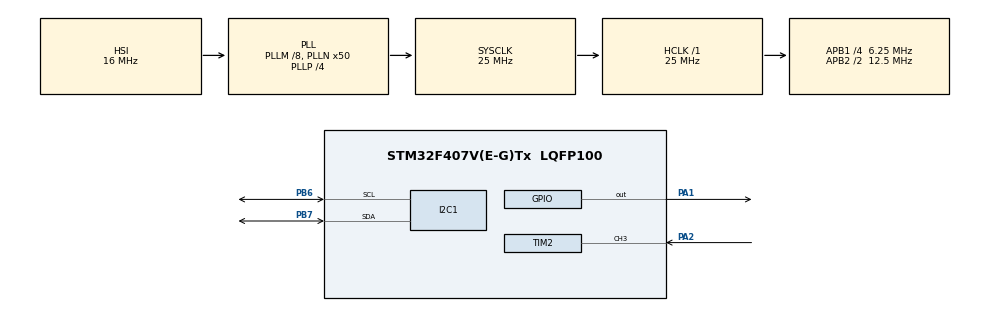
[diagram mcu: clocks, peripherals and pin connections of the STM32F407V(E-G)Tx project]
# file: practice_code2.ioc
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Mcu.Family=STM32F4
Mcu.Name=STM32F407V(E-G)Tx
Mcu.Package=LQFP100
NVIC.PriorityGroup=NVIC_PRIORITYGROUP_0
NVIC.TIM2_IRQn=true\:0\:0\:false\:false\:true\:true\:true\:true
PA1.Signal=GPIO_Output
PA2.Signal=S_TIM2_CH3
PB6.Mode=I2C
PB6.Signal=I2C1_SCL
PB7.Mode=I2C
PB7.Signal=I2C1_SDA
ProjectManager.HeapSize=0x200
ProjectManager.StackSize=0x400
ProjectManager.TargetToolchain=STM32CubeIDE
RCC.48MHZClocksFreq_Value=14285714.285714285
RCC.AHBFreq_Value=25000000
RCC.APB1CLKDivider=RCC_HCLK_DIV4
RCC.APB1Freq_Value=6250000
RCC.APB1TimFreq_Value=12500000
RCC.APB2CLKDivider=RCC_HCLK_DIV2
RCC.APB2Freq_Value=12500000
RCC.APB2TimFreq_Value=25000000
RCC.CortexFreq_Value=25000000
RCC.HCLKFreq_Value=25000000
RCC.HSE_VALUE=8000000
RCC.HSI_VALUE=16000000
RCC.LSE_VALUE=32768
RCC.PLLM=8
RCC.PLLN=50
RCC.PLLP=RCC_PLLP_DIV4
RCC.PLLQ=7
RCC.SYSCLKFreq_VALUE=25000000
RCC.SYSCLKSource=RCC_SYSCLKSOURCE_PLLCLK
RCC.VCOOutputFreq_Value=100000000
SH.S_TIM2_CH3.0=TIM2_CH3,Input_Capture3_from_TI3
TIM2.Channel-Input_Capture3_from_TI3=TIM_CHANNEL_3
TIM2.Period=65535
TIM2.Prescaler=83
board=STM32F407G-DISC1

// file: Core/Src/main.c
/* USER CODE BEGIN Header */
/**
  ******************************************************************************
  * @file           : main.c
  * @brief          : Main program body
  ******************************************************************************
  * @attention
  *
  * Copyright (c) 2025 STMicroelectronics.
  * All rights reserved.
  *
  * This software is licensed under terms that can be found in the LICENSE file
  * in the root directory of this software component.
  * If no LICENSE file comes with this software, it is provided AS-IS.
  *
  ******************************************************************************
  */
/* USER CODE END Header */
#include "main.h"

/* USER CODE BEGIN Includes */
#include<stdio.h>
#include <string.h>
#include <time.h>
#include <math.h>
#include "lcd.h"
#include <stm32f4xx.h>
/* USER CODE END Includes */

I2C_HandleTypeDef hi2c1;

TIM_HandleTypeDef htim2;

void SystemClock_Config(void);
static void MX_GPIO_Init(void);
static void MX_TIM2_Init(void);
static void MX_I2C1_Init(void);
/* USER CODE BEGIN PFP */
//uint32_t echo_time = 0;
//float distance = 0;
////char str[30];
//
//void trigger_ultrasonic()
//{
//	HAL_GPIO_WritePin(GPIOA, GPIO_PIN_1, GPIO_PIN_RESET);
//	for(volatile int i = 0; i < 250; i++);
//	HAL_GPIO_WritePin(GPIOA, GPIO_PIN_1, GPIO_PIN_SET); // TRIG high
//	 for (volatile int i = 0; i < 30; i++);
//    HAL_GPIO_WritePin(GPIOA, GPIO_PIN_1, GPIO_PIN_RESET); // TRIG low
//}

uint32_t echo_time = 0;
float distance = 0;

void trigger_ultrasonic(void) {
  HAL_GPIO_WritePin(GPIOA, GPIO_PIN_1, GPIO_PIN_RESET);
  for (volatile int i = 0; i < 250; i++);
  HAL_GPIO_WritePin(GPIOA, GPIO_PIN_1, GPIO_PIN_SET);
  for (volatile int i = 0; i < 30; i++);
  HAL_GPIO_WritePin(GPIOA, GPIO_PIN_1, GPIO_PIN_RESET);
}

//void HAL_TIM_IC_CaptureCallback(TIM_HandleTypeDef *htim)
//{
//    static uint32_t firstVal = 0, secondVal = 0;
//    static uint8_t isFirstCaptured = 0;
//
//    if (htim->Channel == HAL_TIM_ACTIVE_CHANNEL_3) // ECHO pin on TIM2_CH3
//    {
//        if (isFirstCaptured == 0)
//        {
//            firstVal = HAL_TIM_ReadCapturedValue(htim, TIM_CHANNEL_3);
//            isFirstCaptured = 1;
//            __HAL_TIM_SET_CAPTUREPOLARITY(htim, TIM_CHANNEL_3, TIM_INPUTCHANNELPOLARITY_FALLING);
//        }
//        else
//        {
//            secondVal = HAL_TIM_ReadCapturedValue(htim, TIM_CHANNEL_3);
//            __HAL_TIM_SET_COUNTER(htim, 0);
//            echo_time = secondVal - firstVal;
//            distance = echo_time / 58.0f;
//            //distance (cm) = time (μs) / 58;
//            isFirstCaptured = 0;
//            __HAL_TIM_SET_CAPTUREPOLARITY(htim, TIM_CHANNEL_3, TIM_INPUTCHANNELPOLARITY_RISING);
//        }
//    }
//}

void HAL_TIM_IC_CaptureCallback(TIM_HandleTypeDef *htim) {
  static uint32_t first = 0;
  static uint8_t capFlag = 0;
  if (htim->Channel == HAL_TIM_ACTIVE_CHANNEL_3) {
    if (!capFlag) {
      first = HAL_TIM_ReadCapturedValue(htim, TIM_CHANNEL_3);
      capFlag = 1;
      __HAL_TIM_SET_CAPTUREPOLARITY(htim, TIM_CHANNEL_3, TIM_INPUTCHANNELPOLARITY_FALLING);
    } else {
      uint32_t second = HAL_TIM_ReadCapturedValue(htim, TIM_CHANNEL_3);
      __HAL_TIM_SET_COUNTER(htim, 0);
      echo_time = second - first;
      distance = echo_time / 10.0f;
      capFlag = 0;
      __HAL_TIM_SET_CAPTUREPOLARITY(htim, TIM_CHANNEL_3, TIM_INPUTCHANNELPOLARITY_RISING);
    }
  }
}
/* USER CODE END PFP */

int main(void)
{

  /* MCU Configuration--------------------------------------------------------*/

  /* Reset of all peripherals, Initializes the Flash interface and the Systick. */
  HAL_Init();

  /* Configure the system clock */
  SystemClock_Config();

  /* Initialize all configured peripherals */
  MX_GPIO_Init();
  MX_TIM2_Init();
  MX_I2C1_Init();
  /* USER CODE BEGIN 2 */
LcdInit();
HAL_TIM_IC_Start_IT(&htim2, TIM_CHANNEL_3);
  /* USER CODE END 2 */

  /* Infinite loop */
  /* USER CODE BEGIN WHILE */
char buf[20];
LcdWriteByte(LCD_CMD, LCD_CLEAR);
while (1)
{
	trigger_ultrasonic();
	    HAL_Delay(200); // Wait 200ms

	    if (echo_time == 0 || echo_time > 100) {

	      LcdPuts(LCD_LINE1, "Safe zone !!!");
	      LcdPuts(LCD_LINE2, "                ");
	      HAL_Delay(100);

	    } else {

	      LcdPuts(LCD_LINE2, "STOP STOP !!! ");
	      sprintf(buf, "Dist: %5.2f cm", distance);

	      LcdPuts(LCD_LINE1, buf);
	      HAL_Delay(100);
	    //  LcdWriteByte(LCD_CMD, LCD_CLEAR);

	    }
}

  /* USER CODE END 3 */
}

void SystemClock_Config(void)
{
  RCC_OscInitTypeDef RCC_OscInitStruct = {0};
  RCC_ClkInitTypeDef RCC_ClkInitStruct = {0};

  /** Configure the main internal regulator output voltage
  */
  __HAL_RCC_PWR_CLK_ENABLE();
  __HAL_PWR_VOLTAGESCALING_CONFIG(PWR_REGULATOR_VOLTAGE_SCALE1);

  /** Initializes the RCC Oscillators according to the specified parameters
  * in the RCC_OscInitTypeDef structure.
  */
  RCC_OscInitStruct.OscillatorType = RCC_OSCILLATORTYPE_HSI;
  RCC_OscInitStruct.HSIState = RCC_HSI_ON;
  RCC_OscInitStruct.HSICalibrationValue = RCC_HSICALIBRATION_DEFAULT;
  RCC_OscInitStruct.PLL.PLLState = RCC_PLL_ON;
  RCC_OscInitStruct.PLL.PLLSource = RCC_PLLSOURCE_HSI;
  RCC_OscInitStruct.PLL.PLLM = 8;
  RCC_OscInitStruct.PLL.PLLN = 50;
  RCC_OscInitStruct.PLL.PLLP = RCC_PLLP_DIV4;
  RCC_OscInitStruct.PLL.PLLQ = 7;
  if (HAL_RCC_OscConfig(&RCC_OscInitStruct) != HAL_OK)
  {
    Error_Handler();
  }

  /** Initializes the CPU, AHB and APB buses clocks
  */
  RCC_ClkInitStruct.ClockType = RCC_CLOCKTYPE_HCLK|RCC_CLOCKTYPE_SYSCLK
                              |RCC_CLOCKTYPE_PCLK1|RCC_CLOCKTYPE_PCLK2;
  RCC_ClkInitStruct.SYSCLKSource = RCC_SYSCLKSOURCE_PLLCLK;
  RCC_ClkInitStruct.AHBCLKDivider = RCC_SYSCLK_DIV1;
  RCC_ClkInitStruct.APB1CLKDivider = RCC_HCLK_DIV4;
  RCC_ClkInitStruct.APB2CLKDivider = RCC_HCLK_DIV2;

  if (HAL_RCC_ClockConfig(&RCC_ClkInitStruct, FLASH_LATENCY_0) != HAL_OK)
  {
    Error_Handler();
  }
}

static void MX_I2C1_Init(void)
{

  hi2c1.Instance = I2C1;
  hi2c1.Init.ClockSpeed = 100000;
  hi2c1.Init.DutyCycle = I2C_DUTYCYCLE_2;
  hi2c1.Init.OwnAddress1 = 0;
  hi2c1.Init.AddressingMode = I2C_ADDRESSINGMODE_7BIT;
  hi2c1.Init.DualAddressMode = I2C_DUALADDRESS_DISABLE;
  hi2c1.Init.OwnAddress2 = 0;
  hi2c1.Init.GeneralCallMode = I2C_GENERALCALL_DISABLE;
  hi2c1.Init.NoStretchMode = I2C_NOSTRETCH_DISABLE;
  if (HAL_I2C_Init(&hi2c1) != HAL_OK)
  {
    Error_Handler();
  }

}

static void MX_TIM2_Init(void)
{

  TIM_MasterConfigTypeDef sMasterConfig = {0};
  TIM_IC_InitTypeDef sConfigIC = {0};

  htim2.Instance = TIM2;
  htim2.Init.Prescaler = 83;
  htim2.Init.CounterMode = TIM_COUNTERMODE_UP;
  htim2.Init.Period = 65535;
  htim2.Init.ClockDivision = TIM_CLOCKDIVISION_DIV1;
  htim2.Init.AutoReloadPreload = TIM_AUTORELOAD_PRELOAD_DISABLE;
  if (HAL_TIM_IC_Init(&htim2) != HAL_OK)
  {
    Error_Handler();
  }
  sMasterConfig.MasterOutputTrigger = TIM_TRGO_RESET;
  sMasterConfig.MasterSlaveMode = TIM_MASTERSLAVEMODE_DISABLE;
  if (HAL_TIMEx_MasterConfigSynchronization(&htim2, &sMasterConfig) != HAL_OK)
  {
    Error_Handler();
  }
  sConfigIC.ICPolarity = TIM_INPUTCHANNELPOLARITY_RISING;
  sConfigIC.ICSelection = TIM_ICSELECTION_DIRECTTI;
  sConfigIC.ICPrescaler = TIM_ICPSC_DIV1;
  sConfigIC.ICFilter = 0;
  if (HAL_TIM_IC_ConfigChannel(&htim2, &sConfigIC, TIM_CHANNEL_3) != HAL_OK)
  {
    Error_Handler();
  }

}

static void MX_GPIO_Init(void)
{
  GPIO_InitTypeDef GPIO_InitStruct = {0};

  /* GPIO Ports Clock Enable */
  __HAL_RCC_GPIOA_CLK_ENABLE();
  __HAL_RCC_GPIOB_CLK_ENABLE();

  /*Configure GPIO pin Output Level */
  HAL_GPIO_WritePin(GPIOA, GPIO_PIN_1, GPIO_PIN_RESET);

  /*Configure GPIO pin : PA1 */
  GPIO_InitStruct.Pin = GPIO_PIN_1;
  GPIO_InitStruct.Mode = GPIO_MODE_OUTPUT_PP;
  GPIO_InitStruct.Pull = GPIO_NOPULL;
  GPIO_InitStruct.Speed = GPIO_SPEED_FREQ_LOW;
  HAL_GPIO_Init(GPIOA, &GPIO_InitStruct);

  /* USER CODE BEGIN MX_GPIO_Init_2 */
  /* ✅ Configure GPIO pin : PA2 (Echo for TIM2_CH3) */
   GPIO_InitStruct.Pin = GPIO_PIN_2;
   GPIO_InitStruct.Mode = GPIO_MODE_AF_PP;
   GPIO_InitStruct.Pull = GPIO_NOPULL;
   GPIO_InitStruct.Speed = GPIO_SPEED_FREQ_LOW;
   GPIO_InitStruct.Alternate = GPIO_AF1_TIM2;
   HAL_GPIO_Init(GPIOA, &GPIO_InitStruct);

  /* USER CODE END MX_GPIO_Init_2 */
}

void Error_Handler(void)
{
  __disable_irq();
  while (1)
  {
  }
}
